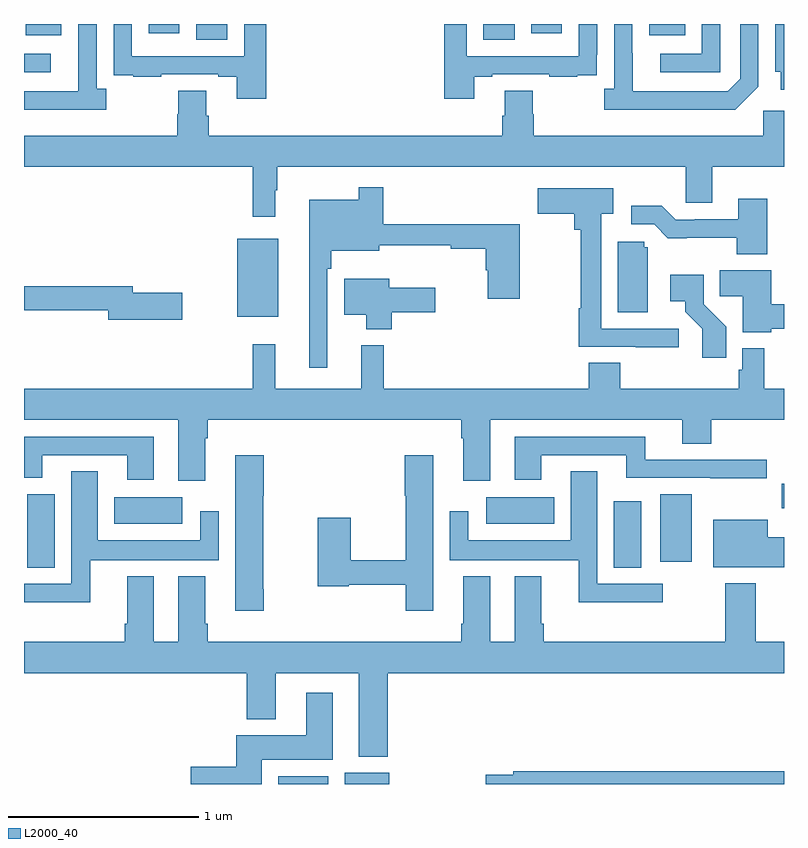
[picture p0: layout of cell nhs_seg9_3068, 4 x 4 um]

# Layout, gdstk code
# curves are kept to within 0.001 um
import gdstk
lib = gdstk.Library(unit=1e-6, precision=1e-09)
def R(c, l, rs):  # rectangles x0, y0, x1, y1
    for r in rs: c.add(gdstk.rectangle(r[:2], r[2:], *l))
def P(c, l, *ps):  # polygons
    for p in ps: c.add(gdstk.Polygon(p, *l))
L2000_40 = (2000, 40)

nhs_seg9_3068 = lib.new_cell('nhs_seg9_3068')
R(nhs_seg9_3068, L2000_40, [(288.338,1198.5,288.601,1198.54), (288.689,1198.5,288.922,1198.558), (287.018,1199.638,287.161,1200.026), (290.105,1199.638,290.248,1199.989), (290.348,1199.67,290.515,1200.026), (287.474,1199.87,287.833,1200.01), (289.434,1199.87,289.792,1200.01), (290.988,1199.951,291,1200.08), (288.122,1200.959,288.337,1201.369), (287,1202.247,287.14,1202.343), (287.906,1202.416,288.07,1202.5), (289.418,1202.416,289.582,1202.5), (287.009,1202.441,287.197,1202.5), (290.291,1202.441,290.479,1202.5), (287.657,1202.451,287.818,1202.5), (289.67,1202.451,289.831,1202.5)])
P(nhs_seg9_3068, L2000_40, [(289.369,1202.223),(289.465,1202.223),(289.465,1202.235),(289.765,1202.235),(289.765,1202.223),(289.913,1202.223),(289.913,1202.229),(290.015,1202.229),(290.015,1202.338),(290.016,1202.338),(290.016,1202.5),(289.92,1202.5),(289.92,1202.331),(289.329,1202.331),(289.329,1202.5),(289.213,1202.5),(289.213,1202.106),(289.369,1202.106)],
  [(287.434,1202.158),(287.382,1202.158),(287.382,1202.5),(287.286,1202.5),(287.286,1202.345),(287.285,1202.345),(287.285,1202.145),(287,1202.145),(287,1202.048),(287.434,1202.048)],
  [(288.275,1202.5),(288.159,1202.5),(288.159,1202.331),(287.568,1202.331),(287.568,1202.5),(287.472,1202.5),(287.472,1202.338),(287.473,1202.338),(287.473,1202.229),(287.575,1202.229),(287.575,1202.223),(287.723,1202.223),(287.723,1202.235),(288.023,1202.235),(288.023,1202.223),(288.119,1202.223),(288.119,1202.106),(288.275,1202.106)],
  [(290.865,1202.169),(290.865,1202.5),(290.769,1202.5),(290.769,1202.211),(290.703,1202.145),(290.203,1202.145),(290.202,1202.5),(290.106,1202.5),(290.106,1202.158),(290.055,1202.158),(290.055,1202.048),(290.744,1202.048)],
  [(290.664,1202.5),(290.568,1202.5),(290.568,1202.343),(290.349,1202.343),(290.349,1202.247),(290.664,1202.247)],
  [(291,1202.5),(290.954,1202.5),(290.954,1202.249),(290.984,1202.249),(290.984,1202.154),(291,1202.154)],
  [(288.322,1201.625),(288.334,1201.625),(288.334,1201.748),(290.484,1201.748),(290.484,1201.558),(290.623,1201.558),(290.623,1201.748),(291,1201.748),(291,1202.044),(290.892,1202.044),(290.892,1201.912),(289.682,1201.912),(289.682,1202.025),(289.677,1202.025),(289.677,1202.15),(289.529,1202.15),(289.529,1202.018),(289.517,1202.018),(289.517,1201.912),(287.972,1201.912),(287.972,1202.018),(287.959,1202.018),(287.959,1202.15),(287.812,1202.15),(287.812,1202.025),(287.807,1202.025),(287.807,1201.912),(287,1201.912),(287,1201.748),(288.205,1201.748),(288.205,1201.485),(288.322,1201.485)],
  [(288.597,1201.211),(288.617,1201.211),(288.617,1201.307),(288.871,1201.307),(288.871,1201.336),(289.246,1201.336),(289.246,1201.318),(289.43,1201.318),(289.43,1201.203),(289.442,1201.203),(289.442,1201.053),(289.608,1201.053),(289.608,1201.447),(288.89,1201.447),(288.89,1201.642),(288.762,1201.642),(288.762,1201.576),(288.5,1201.576),(288.5,1200.69),(288.597,1200.69)],
  [(290.446,1200.897),(290.037,1200.897),(290.037,1201.502),(290.101,1201.502),(290.101,1201.636),(289.704,1201.636),(289.704,1201.502),(289.897,1201.502),(289.897,1201.418),(289.929,1201.418),(289.929,1201.004),(289.921,1201.004),(289.921,1200.801),(290.221,1200.801),(290.221,1200.799),(290.446,1200.799)],
  [(290.912,1201.579),(290.759,1201.579),(290.759,1201.473),(290.53,1201.473),(290.53,1201.47),(290.43,1201.47),(290.357,1201.543),(290.196,1201.543),(290.196,1201.446),(290.316,1201.446),(290.389,1201.373),(290.752,1201.374),(290.752,1201.289),(290.912,1201.289)],
  [(290.284,1201.326),(290.265,1201.326),(290.265,1201.353),(290.126,1201.353),(290.126,1200.982),(290.284,1200.982)],
  [(290.933,1200.897),(291,1200.897),(291,1201.025),(290.933,1201.025),(290.933,1201.204),(290.662,1201.204),(290.662,1201.066),(290.783,1201.066),(290.783,1200.878),(290.933,1200.878)],
  [(290.696,1200.906),(290.577,1201.025),(290.577,1201.18),(290.4,1201.18),(290.4,1201.04),(290.48,1201.04),(290.48,1200.985),(290.571,1200.895),(290.571,1200.744),(290.696,1200.744)],
  [(288.935,1200.982),(289.165,1200.982),(289.165,1201.111),(288.922,1201.111),(288.922,1201.159),(288.686,1201.159),(288.686,1200.971),(288.8,1200.971),(288.8,1200.893),(288.935,1200.893)],
  [(287.833,1201.085),(287.572,1201.085),(287.572,1201.121),(287,1201.121),(287,1200.993),(287.444,1200.993),(287.444,1200.943),(287.833,1200.943)],
  [(287.953,1200.32),(287.966,1200.32),(287.966,1200.416),(289.301,1200.416),(289.301,1200.32),(289.313,1200.32),(289.313,1200.096),(289.453,1200.096),(289.453,1200.416),(290.465,1200.416),(290.465,1200.292),(290.618,1200.292),(290.618,1200.416),(291,1200.416),(291,1200.58),(290.897,1200.58),(290.897,1200.793),(290.781,1200.793),(290.781,1200.681),(290.761,1200.681),(290.761,1200.58),(290.138,1200.58),(290.138,1200.716),(289.973,1200.716),(289.973,1200.58),(288.893,1200.58),(288.893,1200.808),(288.776,1200.808),(288.776,1200.58),(288.323,1200.58),(288.323,1200.814),(288.205,1200.814),(288.205,1200.58),(287,1200.58),(287,1200.416),(287.813,1200.416),(287.813,1200.096),(287.953,1200.096)],
  [(289.723,1200.231),(290.171,1200.231),(290.171,1200.111),(290.611,1200.111),(290.611,1200.109),(290.908,1200.109),(290.908,1200.207),(290.27,1200.207),(290.27,1200.327),(289.583,1200.327),(289.583,1200.102),(289.723,1200.102)],
  [(287.683,1200.327),(287,1200.327),(287,1200.111),(287.095,1200.111),(287.095,1200.231),(287.543,1200.231),(287.543,1200.102),(287.683,1200.102)],
  [(289.153,1200.229),(289.004,1200.229),(289.004,1200.016),(289.009,1200.016),(289.009,1199.678),(288.72,1199.678),(288.72,1199.902),(288.547,1199.902),(288.547,1199.542),(288.708,1199.542),(288.708,1199.55),(289.009,1199.55),(289.009,1199.412),(289.153,1199.412)],
  [(288.263,1199.524),(288.258,1199.524),(288.258,1200.016),(288.263,1200.016),(288.263,1200.229),(288.113,1200.229),(288.113,1199.412),(288.263,1199.412)],
  [(290.362,1199.553),(290.017,1199.553),(290.017,1200.146),(289.877,1200.146),(289.877,1199.782),(289.338,1199.782),(289.338,1199.935),(289.242,1199.935),(289.242,1199.678),(289.919,1199.678),(289.919,1199.456),(290.362,1199.456)],
  [(287.348,1199.678),(288.024,1199.678),(288.024,1199.935),(287.928,1199.935),(287.928,1199.782),(287.389,1199.782),(287.389,1200.146),(287.249,1200.146),(287.249,1199.553),(287,1199.553),(287,1199.456),(287.348,1199.456)],
  [(291,1199.8),(290.914,1199.8),(290.914,1199.89),(290.627,1199.89),(290.627,1199.642),(291,1199.642)],
  [(289.583,1199.593),(289.583,1199.248),(289.453,1199.248),(289.453,1199.593),(289.313,1199.593),(289.313,1199.344),(289.301,1199.344),(289.301,1199.248),(287.966,1199.248),(287.966,1199.344),(287.953,1199.344),(287.953,1199.593),(287.813,1199.593),(287.813,1199.248),(287.683,1199.248),(287.683,1199.593),(287.543,1199.593),(287.543,1199.344),(287.531,1199.344),(287.531,1199.248),(287,1199.248),(287,1199.084),(288.173,1199.084),(288.173,1198.841),(288.325,1198.841),(288.325,1199.084),(288.761,1199.084),(288.761,1198.643),(288.914,1198.643),(288.914,1199.084),(291,1199.084),(291,1199.248),(290.852,1199.248),(290.852,1199.557),(290.692,1199.557),(290.692,1199.248),(289.736,1199.248),(289.736,1199.344),(289.723,1199.344),(289.723,1199.593)],
  [(288.25,1198.628),(288.625,1198.628),(288.625,1198.981),(288.485,1198.981),(288.485,1198.756),(288.116,1198.756),(288.116,1198.592),(287.877,1198.592),(287.877,1198.5),(288.25,1198.5)],
  [(291,1198.568),(289.576,1198.568),(289.576,1198.548),(289.43,1198.548),(289.43,1198.5),(291,1198.5)])

lib.write_gds('nhs_seg9_3068.gds')
